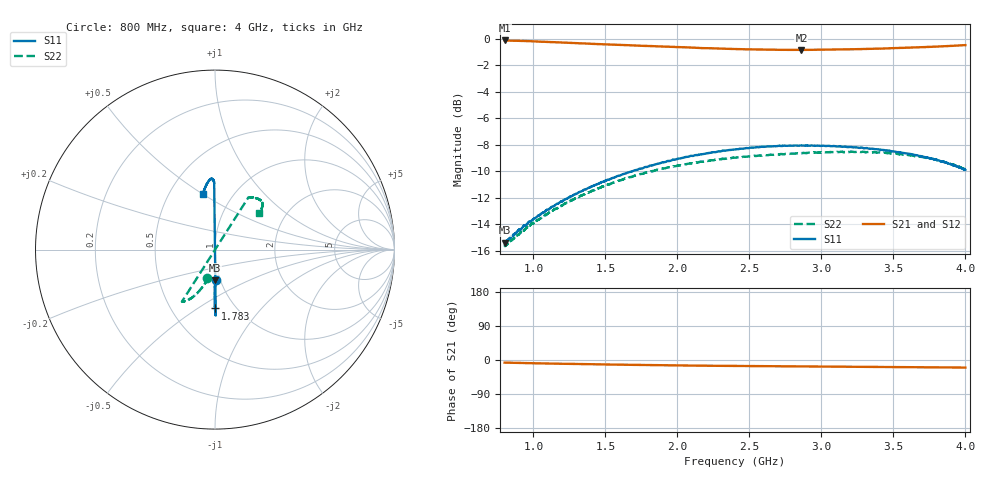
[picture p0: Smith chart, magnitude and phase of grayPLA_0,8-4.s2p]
!Created with skrf (http://scikit-rf.org).
# GHz S RI R 50.0
!freq ReS11 ImS11 ReS21 ImS21 ReS12 ImS12 ReS22 ImS22
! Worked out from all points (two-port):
!   5001 points, 800 MHz to 4 GHz, reference 50 ohm
!   highest |S21| = -0.14 dB at 802.6 MHz (marker M1); lowest = -0.9 dB at 2.861 GHz (marker M2)
!   |S21| within 3 dB of the highest: start of sweep to end of sweep
!   lowest |S11| = -15.4 dB at 801.3 MHz (marker M3), VSWR 1.41, Z = 47.2 - j16.5 ohm
!   |S11| at or under -10 dB: start of sweep to 1.689 GHz
!   |S22| runs from -15.7 to -8.5 dB; largest |S21 - S12| = 0.0051
!   S11 on the Smith chart (normalised r, x): 800 MHz: 0.95, -0.34; 1.783 GHz: 0.81, -0.59; 4 GHz: 0.72, +0.50
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0.8  0.00595 -0.172  0.9772 -0.1178  0.977 -0.1169  -0.0448 -0.1602
0.80128  0.000203 -0.1701  0.9771 -0.1184  0.9769 -0.1178  -0.0394 -0.1602
0.80256  0.000595 -0.1705  0.9772 -0.1187  0.9767 -0.1184  -0.0396 -0.1603
0.81728  -0.00063 -0.1736  0.9764 -0.1205  0.9757 -0.12  -0.0398 -0.1628
0.9536  0.000102 -0.1991  0.9693 -0.1393  0.9686 -0.1372  -0.0547 -0.1863
1.06688  -0.0011 -0.2209  0.9609 -0.1532  0.961 -0.1493  -0.0654 -0.2029
1.17184  -0.00108 -0.2389  0.9544 -0.1644  0.9535 -0.1629  -0.0771 -0.2173
1.33376  -0.00186 -0.2655  0.9435 -0.1787  0.9435 -0.1791  -0.0943 -0.2381
1.58464  -0.00149 -0.3035  0.9265 -0.2008  0.9271 -0.1984  -0.1222 -0.2634
1.78304  0.000516 -0.3279  0.9138 -0.2148  0.9149 -0.2129  -0.1434 -0.2774
1.86688  0.0014 -0.3378  0.9084 -0.2212  0.91 -0.2195  -0.1524 -0.2819
2.09856  0.00216 -0.3612  0.8944 -0.2384  0.8955 -0.234  -0.1767 -0.289
2.16448  0.00375 -0.3659  0.8902 -0.2384  0.8916 -0.2376  -0.1832 -0.2904
2.19712  -0.00377 0.3686  0.8888 -0.2398  0.8901 -0.2392  0.1867 0.2909
2.4  -0.00749 0.3822  0.8793 -0.2487  0.88 -0.2482  0.2041 0.2907
2.62848  -0.0125 0.3918  0.8723 -0.2554  0.8716 -0.2545  0.2219 0.288
2.86144  -0.0178 0.395  0.8673 -0.2645  0.8675 -0.2621  0.2376 0.2834
2.93376  -0.0194 0.3951  0.867 -0.2675  0.8668 -0.266  0.2419 0.2812
3.21152  -0.0299 0.3886  0.8678 -0.2802  0.868 -0.2771  0.2567 0.2726
3.46688  -0.0397 0.3763  0.8715 -0.2924  0.8707 -0.2907  0.2644 0.2587
3.77728  -0.0538 0.3475  0.8801 -0.3081  0.8785 -0.3079  0.262 0.234
4  -0.0686 0.3122  0.8885 -0.3229  0.8885 -0.3218  0.2469 0.2051
